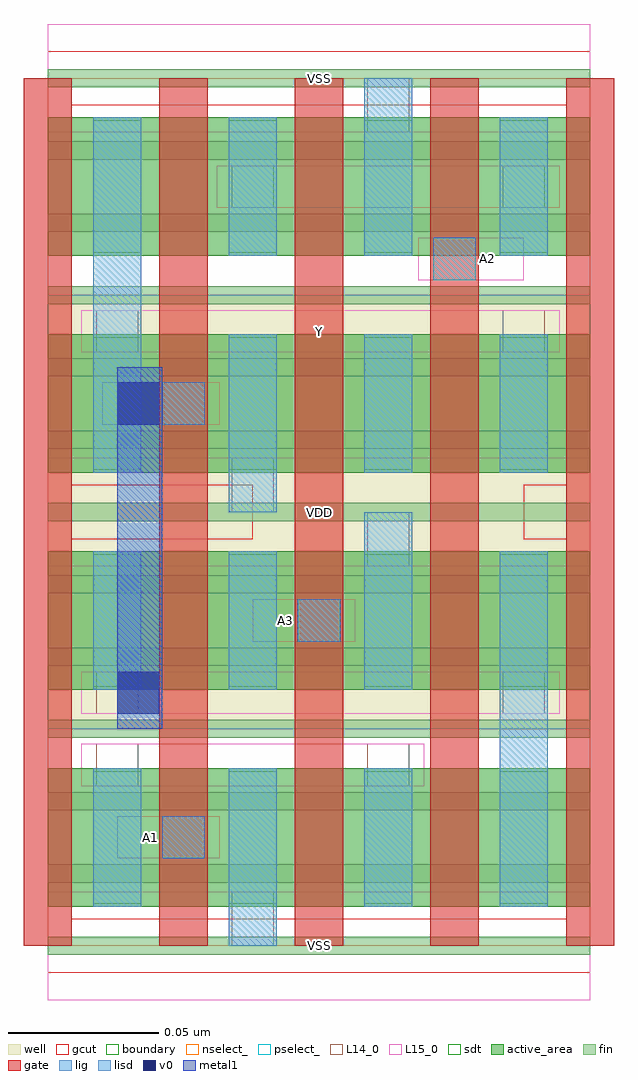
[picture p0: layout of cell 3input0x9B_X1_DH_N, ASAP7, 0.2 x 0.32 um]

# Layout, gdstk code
import gdstk
lib = gdstk.Library(unit=1e-6, precision=1e-09)
def R(c, l, rs):  # rectangles x0, y0, x1, y1
    for r in rs: c.add(gdstk.rectangle(r[:2], r[2:], *l))
def A(c, l, x, y, w, h, nx, ny, dx, dy):  # array of equal rectangles
    R(c, l, [(x+i*dx, y+j*dy, x+i*dx+w, y+j*dy+h) for i in range(nx) for j in range(ny)])
def P(c, l, *ps):  # polygons
    for p in ps: c.add(gdstk.Polygon(p, *l))
well = (1, 0)
fin = (2, 0)
gate = (7, 0)
gcut = (10, 0)
active_area = (11, 0)
nselect_ = (12, 0)
pselect_ = (13, 0)
L14_0 = (14, 0)
L15_0 = (15, 0)
lig = (16, 0)
lisd = (17, 0)
v0 = (18, 0)
metal1 = (19, 0)
sdt = (88, 0)
boundary = (100, 0)

c_3input0x9b_x1_dh_n = lib.new_cell('3input0x9B_X1_DH_N')
R(c_3input0x9b_x1_dh_n, well, [(0,0.072,0.18,0.144), (0,0.144,0.18,0.216)])
A(c_3input0x9b_x1_dh_n, fin, 0, -0.003, 0.18, 0.006, 1, 13, 0, 0.024)
A(c_3input0x9b_x1_dh_n, gate, -0.008, 0, 0.016, 0.288, 5, 1, 0.045, 0)
P(c_3input0x9b_x1_dh_n, gcut, [(0,-0.009),(0,0),(-0.008,0),(-0.008,0.279),(0.008,0.279),(0.008,0.153),(0.068,0.153),(0.068,0.135),(0.008,0.135),(0.008,0.009),(0.172,0.009),(0.172,0.135),(0.158,0.135),(0.158,0.153),(0.172,0.153),(0.172,0.279),(-0.008,0.279),(-0.008,0.288),(0,0.288),(0,0.297),(0.18,0.297),(0.18,0.288),(0.188,0.288),(0.188,0),(0.18,0),(0.18,-0.009)])
A(c_3input0x9b_x1_dh_n, active_area, 0, 0.013, 0.18, 0.046, 1, 4, 0, 0.072)
R(c_3input0x9b_x1_dh_n, nselect_, [(0,0,0.18,0.072), (0,0.216,0.18,0.288)])
R(c_3input0x9b_x1_dh_n, pselect_, [(0,0.072,0.18,0.144), (0,0.144,0.18,0.216)])
R(c_3input0x9b_x1_dh_n, L14_0, [(0.061,0,0.075,0.018), (0.038,0.029,0.052,0.043), (0.016,0.053,0.03,0.067), (0.106,0.053,0.12,0.067), (0.016,0.077,0.03,0.091), (0.151,0.077,0.165,0.091), (0.083,0.101,0.097,0.115), (0.106,0.126,0.12,0.144), (0.061,0.144,0.075,0.162), (0.038,0.173,0.052,0.187), (0.016,0.197,0.03,0.211), (0.151,0.197,0.165,0.211), (0.128,0.221,0.142,0.235), (0.061,0.245,0.075,0.259), (0.151,0.245,0.165,0.259), (0.106,0.27,0.12,0.288)])
A(c_3input0x9b_x1_dh_n, L15_0, 0, -0.018, 0.18, 0.036, 1, 3, 0, 0.144)
R(c_3input0x9b_x1_dh_n, L15_0, [(0.023,0.029,0.057,0.043), (0.011,0.053,0.125,0.067), (0.011,0.077,0.17,0.091), (0.068,0.101,0.102,0.115), (0.018,0.173,0.057,0.187), (0.011,0.197,0.17,0.211), (0.123,0.221,0.158,0.235), (0.056,0.245,0.17,0.259)])
R(c_3input0x9b_x1_dh_n, lig, [(0.038,0.029,0.052,0.043), (0.083,0.101,0.097,0.115), (0.038,0.173,0.052,0.187), (0.128,0.221,0.142,0.235)])
R(c_3input0x9b_x1_dh_n, lisd, [(0.06,0,0.076,0.059), (0.015,0.013,0.031,0.059), (0.105,0.013,0.121,0.059), (0.15,0.013,0.166,0.131), (0.015,0.085,0.031,0.131), (0.06,0.085,0.076,0.131), (0.105,0.085,0.121,0.144), (0.06,0.144,0.076,0.203), (0.015,0.157,0.031,0.275), (0.105,0.157,0.121,0.203), (0.15,0.157,0.166,0.203), (0.06,0.229,0.076,0.275), (0.105,0.229,0.121,0.288), (0.15,0.229,0.166,0.275)])
R(c_3input0x9b_x1_dh_n, v0, [(0.023,0.077,0.037,0.091), (0.023,0.173,0.037,0.187)])
R(c_3input0x9b_x1_dh_n, metal1, [(0.023,0.072,0.038,0.192)])
A(c_3input0x9b_x1_dh_n, sdt, 0.015, 0.014, 0.016, 0.044, 4, 4, 0.045, 0.072)
R(c_3input0x9b_x1_dh_n, boundary, [(0,0,0.18,0.288)])
c_3input0x9b_x1_dh_n.add(gdstk.Label('A2', (0.146,0.228), layer=15, texttype=251))
c_3input0x9b_x1_dh_n.add(gdstk.Label('VSS', (0.09,0), layer=15, texttype=251))
c_3input0x9b_x1_dh_n.add(gdstk.Label('VDD', (0.09,0.144), layer=15, texttype=251))
c_3input0x9b_x1_dh_n.add(gdstk.Label('VDD', (0.09,0.144), layer=15, texttype=251))
c_3input0x9b_x1_dh_n.add(gdstk.Label('VSS', (0.09,0.288), layer=15, texttype=251))
c_3input0x9b_x1_dh_n.add(gdstk.Label('A1', (0.034,0.036), layer=15, texttype=251))
c_3input0x9b_x1_dh_n.add(gdstk.Label('VSS', (0.09,0), layer=15, texttype=251))
c_3input0x9b_x1_dh_n.add(gdstk.Label('VDD', (0.09,0.144), layer=15, texttype=251))
c_3input0x9b_x1_dh_n.add(gdstk.Label('VDD', (0.09,0.144), layer=15, texttype=251))
c_3input0x9b_x1_dh_n.add(gdstk.Label('VSS', (0.09,0.288), layer=15, texttype=251))
c_3input0x9b_x1_dh_n.add(gdstk.Label('A3', (0.079,0.108), layer=15, texttype=251))
c_3input0x9b_x1_dh_n.add(gdstk.Label('VSS', (0.09,0), layer=15, texttype=251))
c_3input0x9b_x1_dh_n.add(gdstk.Label('VDD', (0.09,0.144), layer=15, texttype=251))
c_3input0x9b_x1_dh_n.add(gdstk.Label('VDD', (0.09,0.144), layer=15, texttype=251))
c_3input0x9b_x1_dh_n.add(gdstk.Label('VSS', (0.09,0.288), layer=15, texttype=251))
c_3input0x9b_x1_dh_n.add(gdstk.Label('Y', (0.09,0.204), layer=15, texttype=251))
c_3input0x9b_x1_dh_n.add(gdstk.Label('VSS', (0.09,0), layer=15, texttype=251))
c_3input0x9b_x1_dh_n.add(gdstk.Label('VDD', (0.09,0.144), layer=15, texttype=251))
c_3input0x9b_x1_dh_n.add(gdstk.Label('VDD', (0.09,0.144), layer=15, texttype=251))
c_3input0x9b_x1_dh_n.add(gdstk.Label('VSS', (0.09,0.288), layer=15, texttype=251))
c_3input0x9b_x1_dh_n.add(gdstk.Label('VSS', (0.09,0), layer=3, texttype=251))
c_3input0x9b_x1_dh_n.add(gdstk.Label('VSS', (0.09,0.288), layer=3, texttype=251))
c_3input0x9b_x1_dh_n.add(gdstk.Label('VSS', (0.09,0), layer=3, texttype=251))
c_3input0x9b_x1_dh_n.add(gdstk.Label('VSS', (0.09,0.288), layer=3, texttype=251))
c_3input0x9b_x1_dh_n.add(gdstk.Label('VSS', (0.09,0), layer=3, texttype=251))
c_3input0x9b_x1_dh_n.add(gdstk.Label('VSS', (0.09,0.288), layer=3, texttype=251))
c_3input0x9b_x1_dh_n.add(gdstk.Label('VSS', (0.09,0), layer=3, texttype=251))
c_3input0x9b_x1_dh_n.add(gdstk.Label('VSS', (0.09,0.288), layer=3, texttype=251))
c_3input0x9b_x1_dh_n.add(gdstk.Label('VDD', (0.09,0.144), layer=1, texttype=251))
c_3input0x9b_x1_dh_n.add(gdstk.Label('VDD', (0.09,0.144), layer=1, texttype=251))
c_3input0x9b_x1_dh_n.add(gdstk.Label('VDD', (0.09,0.144), layer=1, texttype=251))
c_3input0x9b_x1_dh_n.add(gdstk.Label('VDD', (0.09,0.144), layer=1, texttype=251))
c_3input0x9b_x1_dh_n.add(gdstk.Label('VDD', (0.09,0.144), layer=1, texttype=251))
c_3input0x9b_x1_dh_n.add(gdstk.Label('VDD', (0.09,0.144), layer=1, texttype=251))
c_3input0x9b_x1_dh_n.add(gdstk.Label('VDD', (0.09,0.144), layer=1, texttype=251))
c_3input0x9b_x1_dh_n.add(gdstk.Label('VDD', (0.09,0.144), layer=1, texttype=251))

lib.write_gds('3input0x9B_X1_DH_N.gds')
